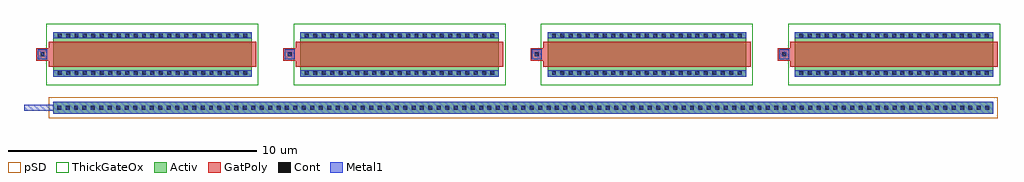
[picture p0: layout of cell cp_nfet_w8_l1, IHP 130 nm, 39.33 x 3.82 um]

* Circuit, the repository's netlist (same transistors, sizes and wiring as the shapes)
* extracted by klt extract --deck sg13cmos5l

* cell cp_nfet_w8_l1
* pin vsubs
.SUBCKT cp_nfet_w8_l1 vsubs
* device instance $1 r0 *1 5.3,3.36 nfet
X$1 \$10 \$2 \$3 vsubs sg13_hv_nmos L=1U W=8U AS=3.2P AD=3.2P PS=16.8U PD=16.8U
* device instance $2 r0 *1 15.26,3.36 nfet
X$2 \$11 \$4 \$5 vsubs sg13_hv_nmos L=1U W=8U AS=3.2P AD=3.2P PS=16.8U PD=16.8U
* device instance $3 r0 *1 25.22,3.36 nfet
X$3 \$12 \$6 \$7 vsubs sg13_hv_nmos L=1U W=8U AS=3.2P AD=3.2P PS=16.8U PD=16.8U
* device instance $4 r0 *1 35.18,3.36 nfet
X$4 \$13 \$8 \$9 vsubs sg13_hv_nmos L=1U W=8U AS=3.2P AD=3.2P PS=16.8U PD=16.8U
.ENDS cp_nfet_w8_l1

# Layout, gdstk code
import gdstk
lib = gdstk.Library(unit=1e-6, precision=1e-09)
def R(c, l, rs):  # rectangles x0, y0, x1, y1
    for r in rs: c.add(gdstk.rectangle(r[:2], r[2:], *l))
def A(c, l, x, y, w, h, nx, ny, dx, dy):  # array of equal rectangles
    R(c, l, [(x+i*dx, y+j*dy, x+i*dx+w, y+j*dy+h) for i in range(nx) for j in range(ny)])
Activ = (1, 0)
GatPoly = (5, 0)
Cont = (6, 0)
Metal1 = (8, 0)
pSD = (14, 0)
ThickGateOx = (44, 0)

cp_nfet_w8_l1 = lib.new_cell('cp_nfet_w8_l1')
A(cp_nfet_w8_l1, Activ, 1.3, 2.46, 8, 1.8, 4, 1, 9.96, 0)
R(cp_nfet_w8_l1, Activ, [(1.3,0.96,39.18,1.46)])
A(cp_nfet_w8_l1, GatPoly, 1.12, 2.86, 8.36, 1, 4, 1, 9.96, 0)
A(cp_nfet_w8_l1, GatPoly, 0.62, 3.11, 0.5, 0.5, 4, 1, 9.96, 0)
A(cp_nfet_w8_l1, Cont, 1.46, 1.13, 0.16, 0.16, 111, 1, 0.34, 0)
A(cp_nfet_w8_l1, Cont, 1.48, 2.53, 0.16, 0.16, 23, 2, 0.34, 1.5)
A(cp_nfet_w8_l1, Cont, 11.44, 2.53, 0.16, 0.16, 23, 2, 0.34, 1.5)
A(cp_nfet_w8_l1, Cont, 21.4, 2.53, 0.16, 0.16, 23, 2, 0.34, 1.5)
A(cp_nfet_w8_l1, Cont, 31.36, 2.53, 0.16, 0.16, 23, 2, 0.34, 1.5)
A(cp_nfet_w8_l1, Cont, 0.79, 3.28, 0.16, 0.16, 4, 1, 9.96, 0)
A(cp_nfet_w8_l1, Metal1, 1.3, 2.46, 8, 0.26, 4, 2, 9.96, 1.54)
A(cp_nfet_w8_l1, Metal1, 0.67, 3.16, 0.4, 0.4, 4, 1, 9.96, 0)
R(cp_nfet_w8_l1, Metal1, [(1.3,0.96,39.18,1.46), (0.125,1.085,1.3,1.335)])
R(cp_nfet_w8_l1, pSD, [(1.12,0.78,39.36,1.64)])
A(cp_nfet_w8_l1, ThickGateOx, 1.03, 2.12, 8.54, 2.48, 4, 1, 9.96, 0)

lib.write_gds('cp_nfet_w8_l1.gds')
